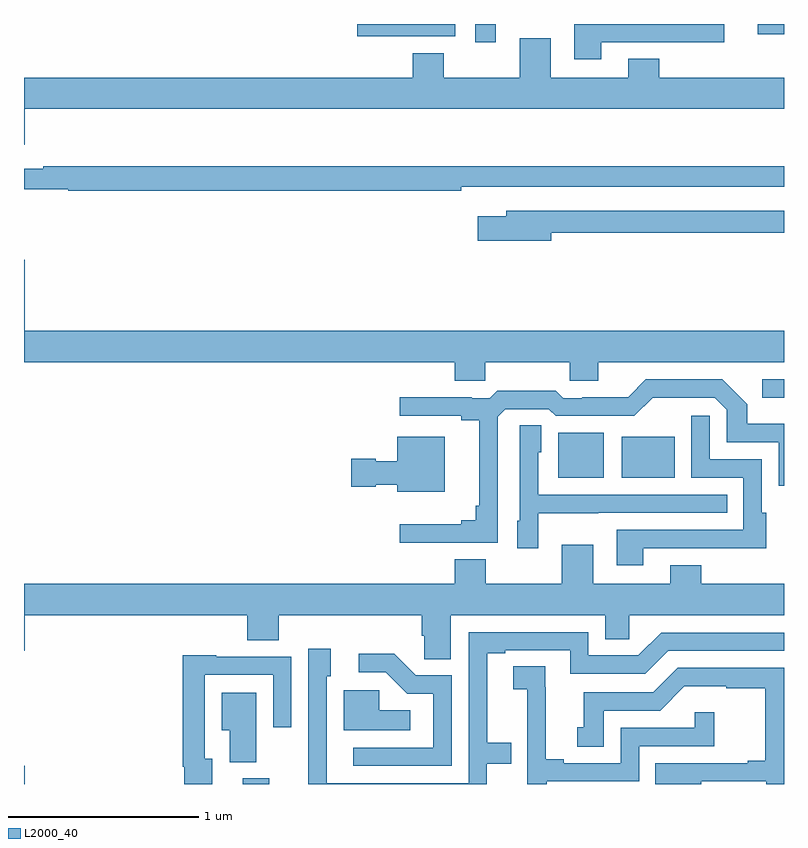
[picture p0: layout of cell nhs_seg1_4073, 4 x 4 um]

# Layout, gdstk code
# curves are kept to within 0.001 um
import gdstk
lib = gdstk.Library(unit=1e-6, precision=1e-09)
def R(c, l, rs):  # rectangles x0, y0, x1, y1
    for r in rs: c.add(gdstk.rectangle(r[:2], r[2:], *l))
def P(c, l, *ps):  # polygons
    for p in ps: c.add(gdstk.Polygon(p, *l))
L2000_40 = (2000, 40)

nhs_seg1_4073 = lib.new_cell('nhs_seg1_4073')
R(nhs_seg1_4073, L2000_40, [(333,528.199,333.004,528.295), (334.151,528.199,334.291,528.228), (335.813,529.811,336.052,530.047), (336.146,529.811,336.424,530.026), (336.885,530.231,337,530.328), (335.375,532.104,335.484,532.199), (334.755,532.134,335.271,532.199), (336.861,532.146,337,532.199)])
P(nhs_seg1_4073, L2000_40, [(336.037,532.104),(336.467,532.104),(336.467,532.103),(336.685,532.103),(336.685,532.199),(335.897,532.199),(335.897,532.014),(336.037,532.014)],
  [(333,531.564),(333.004,531.564),(333.004,531.752),(337,531.752),(337,531.916),(336.343,531.916),(336.343,532.015),(336.179,532.015),(336.179,531.916),(335.773,531.916),(335.773,532.123),(335.609,532.123),(335.609,531.916),(335.209,531.916),(335.209,532.045),(335.045,532.045),(335.045,531.916),(333,531.916)],
  [(335.3,531.342),(337,531.342),(337,531.451),(333.1,531.451),(333.1,531.438),(333,531.438),(333,531.33),(333.233,531.33),(333.233,531.322),(335.3,531.322)],
  [(335.776,531.1),(337,531.1),(337,531.216),(335.537,531.216),(335.537,531.187),(335.388,531.187),(335.388,531.058),(335.776,531.058)],
  [(335.427,530.42),(335.872,530.42),(335.872,530.322),(336.022,530.322),(336.022,530.42),(337,530.42),(337,530.584),(333.004,530.584),(333.004,530.959),(333,530.959),(333,530.42),(335.267,530.42),(335.267,530.322),(335.427,530.322)],
  [(335.493,530.133),(335.532,530.172),(335.763,530.172),(335.799,530.136),(336.213,530.136),(336.308,530.231),(336.636,530.232),(336.699,530.169),(336.699,529.998),(336.972,529.998),(336.972,529.77),(337,529.77),(337,530.095),(336.807,530.095),(336.807,530.198),(336.676,530.328),(336.273,530.328),(336.179,530.234),(335.938,530.234),(335.938,530.229),(335.838,530.229),(335.799,530.269),(335.491,530.269),(335.451,530.229),(335.357,530.229),(335.357,530.234),(334.977,530.234),(334.977,530.136),(335.3,530.136),(335.3,530.114),(335.396,530.114),(335.396,529.663),(335.377,529.663),(335.377,529.586),(335.3,529.586),(335.3,529.567),(334.977,529.567),(334.977,529.47),(335.493,529.47)],
  [(336.259,529.44),(336.689,529.44),(336.689,529.439),(336.907,529.439),(336.907,529.626),(336.882,529.626),(336.882,529.908),(336.609,529.908),(336.609,530.137),(336.513,530.137),(336.513,529.812),(336.786,529.812),(336.786,529.536),(336.119,529.536),(336.119,529.35),(336.259,529.35)],
  [(335.706,529.625),(336.023,529.625),(336.023,529.626),(336.701,529.626),(336.701,529.722),(335.706,529.722),(335.706,529.944),(335.722,529.944),(335.722,530.087),(335.61,530.087),(335.61,529.584),(335.597,529.584),(335.597,529.44),(335.706,529.44)],
  [(335.215,530.026),(334.964,530.026),(334.964,529.897),(334.851,529.897),(334.851,529.91),(334.722,529.91),(334.722,529.763),(334.851,529.763),(334.851,529.775),(334.964,529.775),(334.964,529.736),(335.215,529.736)],
  [(335.245,529.088),(336.059,529.088),(336.059,528.961),(336.186,528.961),(336.186,529.088),(337,529.088),(337,529.252),(336.565,529.252),(336.565,529.351),(336.401,529.351),(336.401,529.252),(335.995,529.252),(335.995,529.459),(335.831,529.459),(335.831,529.252),(335.431,529.252),(335.431,529.381),(335.267,529.381),(335.267,529.252),(333,529.252),(333,528.9),(333.004,528.9),(333.004,529.088),(334.175,529.088),(334.175,528.955),(334.34,528.955),(334.34,529.088),(335.093,529.088),(335.093,528.979),(335.106,528.979),(335.106,528.856),(335.245,528.856)],
  [(335.436,528.306),(335.564,528.306),(335.564,528.415),(335.437,528.415),(335.437,528.888),(335.533,528.888),(335.533,528.903),(335.874,528.903),(335.874,528.78),(336.27,528.78),(336.39,528.9),(337,528.9),(337,528.996),(336.354,528.996),(336.234,528.876),(335.97,528.876),(335.97,528.999),(335.34,528.999),(335.34,528.204),(334.593,528.204),(334.593,528.765),(334.615,528.765),(334.615,528.91),(334.497,528.91),(334.496,528.199),(335.436,528.199)],
  [(335.25,528.771),(335.061,528.771),(334.948,528.884),(334.761,528.884),(334.761,528.786),(334.905,528.786),(335.016,528.675),(335.154,528.675),(335.154,528.39),(334.734,528.39),(334.734,528.294),(335.25,528.294)],
  [(333.991,528.333),(333.951,528.333),(333.951,528.774),(334.311,528.774),(334.311,528.498),(334.407,528.498),(334.407,528.87),(334.011,528.87),(334.011,528.877),(333.835,528.877),(333.835,528.289),(333.843,528.289),(333.843,528.199),(333.991,528.199)],
  [(335.75,528.213),(336.237,528.213),(336.237,528.399),(336.632,528.399),(336.632,528.577),(336.531,528.577),(336.531,528.495),(336.141,528.495),(336.141,528.309),(335.842,528.309),(335.842,528.329),(335.746,528.329),(335.746,528.707),(335.744,528.707),(335.744,528.818),(335.574,528.818),(335.574,528.697),(335.648,528.697),(335.648,528.499),(335.649,528.499),(335.649,528.199),(335.75,528.199)],
  [(336.565,528.213),(336.906,528.213),(336.906,528.199),(337,528.199),(337,528.81),(336.441,528.81),(336.312,528.681),(335.945,528.681),(335.945,528.498),(335.912,528.498),(335.912,528.394),(336.052,528.394),(336.052,528.585),(336.348,528.585),(336.476,528.713),(336.695,528.713),(336.695,528.702),(336.901,528.702),(336.901,528.322),(336.809,528.322),(336.809,528.309),(336.322,528.309),(336.322,528.199),(336.565,528.199)],
  [(335.032,528.586),(334.869,528.586),(334.869,528.693),(334.682,528.693),(334.682,528.482),(335.032,528.482)],
  [(334.222,528.679),(334.04,528.679),(334.04,528.482),(334.082,528.482),(334.082,528.313),(334.222,528.313)])

lib.write_gds('nhs_seg1_4073.gds')
